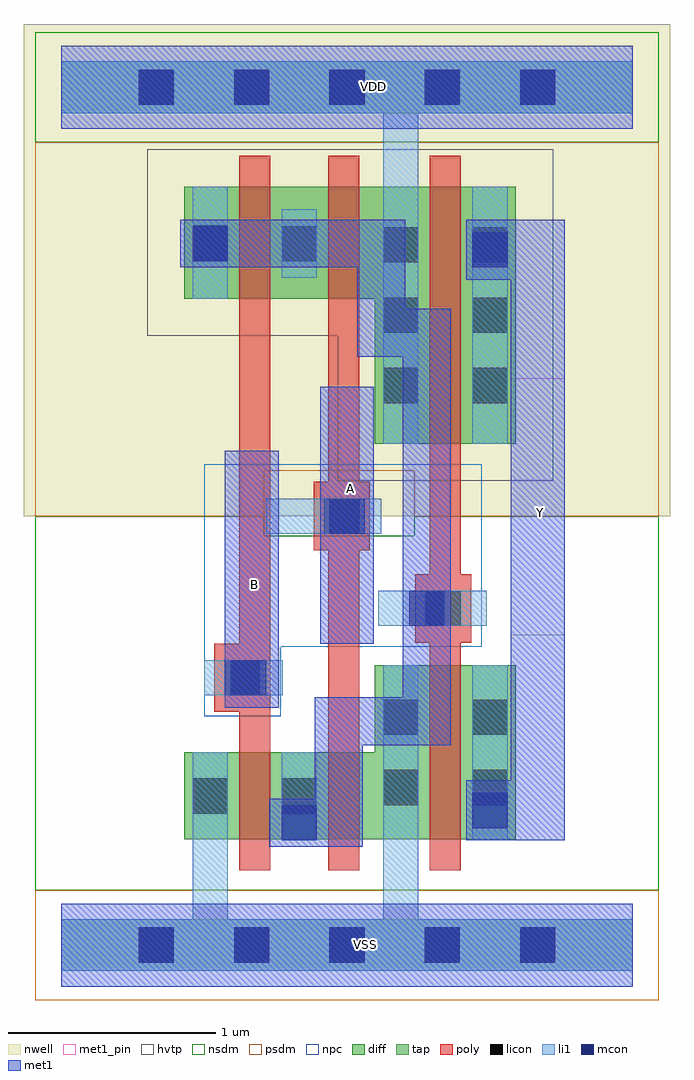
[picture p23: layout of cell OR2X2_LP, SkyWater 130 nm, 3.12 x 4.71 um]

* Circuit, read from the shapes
.subckt OR2X2_LP A B VDD VSS Y
XM1 n1 B VSS VSS sky130_fd_pr__nfet_01v8 w=0.42 l=0.15
XM2 VSS A n1 VSS sky130_fd_pr__nfet_01v8 w=0.42 l=0.15
XM3 Y n1 VSS VSS sky130_fd_pr__nfet_01v8 w=0.84 l=0.15
XM4 n2 B n1 VDD sky130_fd_pr__pfet_01v8_hvt w=0.54 l=0.15
XM5 VDD A n2 VDD sky130_fd_pr__pfet_01v8_hvt w=0.54 l=0.15
XM6 Y n1 VDD VDD sky130_fd_pr__pfet_01v8_hvt w=1.24 l=0.15
.ends

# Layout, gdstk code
from math import pi, radians
import gdstk
lib = gdstk.Library(unit=1e-6, precision=1e-09)
def R(c, l, rs):  # rectangles x0, y0, x1, y1
    for r in rs: c.add(gdstk.rectangle(r[:2], r[2:], *l))
def A(c, l, x, y, w, h, nx, ny, dx, dy):  # array of equal rectangles
    R(c, l, [(x+i*dx, y+j*dy, x+i*dx+w, y+j*dy+h) for i in range(nx) for j in range(ny)])
def P(c, l, *ps):  # polygons
    for p in ps: c.add(gdstk.Polygon(p, *l))
nwell = (64, 20)
diff = (65, 20)
tap = (65, 44)
poly = (66, 20)
licon = (66, 44)
li1 = (67, 20)
mcon = (67, 44)
met1_pin = (68, 16)
met1 = (68, 20)
hvtp = (78, 44)
nsdm = (93, 44)
psdm = (94, 20)
npc = (95, 20)

l1m1_c_cdns_758729379650 = lib.new_cell('L1M1_C_CDNS_758729379650')
R(l1m1_c_cdns_758729379650, li1, [(-0.085,-0.085,0.085,0.165)])
R(l1m1_c_cdns_758729379650, mcon, [(-0.085,-0.085,0.085,0.085)])
R(l1m1_c_cdns_758729379650, met1, [(-0.145,-0.115,0.145,0.115)])

lilicon_c_cdns_758729379 = lib.new_cell('LILICON_C_CDNS_7587293796522')
R(lilicon_c_cdns_758729379, licon, [(-0.085,-0.085,0.085,0.085), (-0.085,-0.085,0.085,0.085)])
R(lilicon_c_cdns_758729379, li1, [(-0.085,-0.165,0.085,0.165)])

l1m1_c_cdns_758729379655 = lib.new_cell('L1M1_C_CDNS_758729379655')
R(l1m1_c_cdns_758729379655, li1, [(-0.085,-0.165,0.085,0.165)])
R(l1m1_c_cdns_758729379655, mcon, [(-0.085,-0.085,0.085,0.085)])
R(l1m1_c_cdns_758729379655, met1, [(-0.115,-0.145,0.115,0.145)])

l1m1_c_cdns_758729379652 = lib.new_cell('L1M1_C_CDNS_758729379652')
R(l1m1_c_cdns_758729379652, li1, [(-0.085,-0.165,0.085,0.165)])
R(l1m1_c_cdns_758729379652, mcon, [(-0.085,-0.085,0.085,0.085)])
R(l1m1_c_cdns_758729379652, met1, [(-0.145,-0.115,0.145,0.115)])

pyl1con_c_cdns_758729379 = lib.new_cell('PYL1CON_C_CDNS_758729379653')
R(pyl1con_c_cdns_758729379, poly, [(-0.135,-0.165,0.135,0.165)])
R(pyl1con_c_cdns_758729379, licon, [(-0.085,-0.085,0.085,0.085)])
R(pyl1con_c_cdns_758729379, npc, [(-0.185,-0.185,0.185,0.185)])

l1m1_c_cdns_758729379654 = lib.new_cell('L1M1_C_CDNS_758729379654')
R(l1m1_c_cdns_758729379654, li1, [(-0.165,-0.085,0.165,0.085)])
R(l1m1_c_cdns_758729379654, mcon, [(-0.085,-0.085,0.085,0.085)])
R(l1m1_c_cdns_758729379654, met1, [(-0.115,-0.145,0.115,0.145)])

l1m1_c_cdns_758729379651 = lib.new_cell('L1M1_C_CDNS_7587293796513')
R(l1m1_c_cdns_758729379651, li1, [(-0.085,-0.085,0.085,0.165)])
R(l1m1_c_cdns_758729379651, mcon, [(-0.085,-0.085,0.085,0.085)])
R(l1m1_c_cdns_758729379651, met1, [(-0.115,-0.145,0.115,0.145)])

or2x2_lp = lib.new_cell('OR2X2_LP')
R(or2x2_lp, nwell, [(-0.18,2.07,2.94,4.445)])
P(or2x2_lp, diff, [(2.195,3.66),(0.595,3.66),(0.595,3.12),(1.515,3.12),(1.515,2.42),(2.195,2.42)],
  [(2.195,1.35),(1.515,1.35),(1.515,0.93),(0.595,0.93),(0.595,0.51),(2.195,0.51)])
R(or2x2_lp, poly, [(0.86,0.36,1.01,3.81), (1.29,0.36,1.44,3.81), (1.78,0.36,1.93,3.81)])
A(or2x2_lp, licon, 0.375, -0.085, 0.17, 0.17, 5, 2, 0.46, 4.14)
A(or2x2_lp, licon, 1.555, 2.615, 0.17, 0.17, 1, 3, 0, 0.34)
A(or2x2_lp, licon, 1.985, 2.615, 0.17, 0.17, 1, 3, 0, 0.34)
R(or2x2_lp, licon, [(0.635,0.635,0.805,0.805), (1.065,0.635,1.235,0.805), (1.555,0.675,1.725,0.845), (1.985,0.675,2.155,0.845), (1.555,1.015,1.725,1.185), (1.985,1.015,2.155,1.185), (0.635,3.305,0.805,3.475)])
R(or2x2_lp, li1, [(1.065,0.51,1.235,0.93), (1.985,0.51,2.155,1.35), (1.985,2.42,2.155,3.66), (0.635,3.12,0.805,3.66)])
P(or2x2_lp, li1, [(2.76,4.265),(0,4.265),(0,4.015),(1.555,4.015),(1.555,2.42),(1.725,2.42),(1.725,4.015),(2.76,4.015)],
  [(2.76,0.125),(1.725,0.125),(1.725,1.35),(1.555,1.35),(1.555,0.125),(0.805,0.125),(0.805,0.93),(0.635,0.93),(0.635,0.125),(0,0.125),(0,-0.125),(2.76,-0.125)])
A(or2x2_lp, mcon, 0.375, -0.085, 0.17, 0.17, 5, 2, 0.46, 4.14)
R(or2x2_lp, met1_pin, [(0.79,1.145,1.05,2.385), (1.25,1.455,1.51,2.695), (2.17,1.495,2.43,2.735)])
P(or2x2_lp, hvtp, [(2.375,3.84),(0.415,3.84),(0.415,2.94),(1.335,2.94),(1.335,2.24),(2.375,2.24)])
R(or2x2_lp, nsdm, [(-0.125,3.875,2.885,4.405)])
P(or2x2_lp, nsdm, [(2.885,2.07),(1.705,2.07),(1.705,1.975),(0.98,1.975),(0.98,2.07),(-0.125,2.07),(-0.125,0.265),(2.885,0.265)])
R(or2x2_lp, psdm, [(-0.125,-0.265,2.885,0.265)])
P(or2x2_lp, psdm, [(2.885,3.875),(-0.125,3.875),(-0.125,2.07),(0.98,2.07),(0.98,2.29),(1.705,2.29),(1.705,2.07),(2.885,2.07)])
P(or2x2_lp, npc, [(2.03,2.32),(0.69,2.32),(0.69,1.105),(0.91,1.105),(0.91,1.44),(2.03,1.44)])
or2x2_lp.add(gdstk.FlexPath([(0.905,1.29),(0.69,1.29)], 0.17, ends="flush", simple_path=True, layer=67, datatype=20))  # li1
or2x2_lp.add(gdstk.FlexPath([(1.52,2.07),(0.99,2.07)], 0.17, ends="flush", simple_path=True, layer=67, datatype=20))  # li1
or2x2_lp.add(gdstk.FlexPath([(2.055,1.625),(1.53,1.625)], 0.17, ends="flush", simple_path=True, layer=67, datatype=20))  # li1
or2x2_lp.add(gdstk.FlexPath([(0,4.14),(2.76,4.14)], 0.25, ends="flush", simple_path=True, layer=65, datatype=44))  # tap
or2x2_lp.add(gdstk.FlexPath([(0,0),(2.76,0)], 0.25, ends="flush", simple_path=True, layer=65, datatype=44))  # tap
or2x2_lp.add(gdstk.FlexPath([(0,4.14),(2.76,4.14)], 0.4, ends="flush", simple_path=True, layer=68, datatype=20))  # met1
or2x2_lp.add(gdstk.FlexPath([(0,0),(2.76,0)], 0.4, ends="flush", simple_path=True, layer=68, datatype=20))  # met1
or2x2_lp.add(gdstk.FlexPath([(1.34,0.475),(1.34,1.08),(1.765,1.08),(1.765,2.955),(1.545,2.955),(1.545,3.385),(0.735,3.385)], 0.23, ends="flush", simple_path=True, layer=68, datatype=20))  # met1
or2x2_lp.add(gdstk.FlexPath([(1.38,1.455),(1.38,2.695)], 0.26, ends="flush", simple_path=True, layer=68, datatype=20))  # met1
or2x2_lp.add(gdstk.FlexPath([(0.92,1.145),(0.92,2.385)], 0.26, ends="flush", simple_path=True, layer=68, datatype=20))  # met1
or2x2_lp.add(gdstk.FlexPath([(2.3,0.505),(2.3,3.5)], 0.26, ends="flush", simple_path=True, layer=68, datatype=20))  # met1
or2x2_lp.add(gdstk.FlexPath([(0,0),(2.76,0)], 0.4, ends="flush", simple_path=True, layer=68, datatype=16))  # met1_pin
or2x2_lp.add(gdstk.FlexPath([(0,4.14),(2.76,4.14)], 0.4, ends="flush", simple_path=True, layer=68, datatype=16))  # met1_pin
or2x2_lp.add(gdstk.Reference(l1m1_c_cdns_758729379650, (1.15,0.59)))
or2x2_lp.add(gdstk.Reference(lilicon_c_cdns_758729379, (1.15,3.385)))
or2x2_lp.add(gdstk.Reference(l1m1_c_cdns_758729379655, (2.07,3.355)))
or2x2_lp.add(gdstk.Reference(l1m1_c_cdns_758729379652, (0.905,1.29), rotation=pi/2))
or2x2_lp.add(gdstk.Reference(l1m1_c_cdns_758729379652, (0.72,3.385)))
or2x2_lp.add(gdstk.Reference(pyl1con_c_cdns_758729379, (1.355,2.07)))
or2x2_lp.add(gdstk.Reference(pyl1con_c_cdns_758729379, (1.845,1.625)))
or2x2_lp.add(gdstk.Reference(pyl1con_c_cdns_758729379, (0.875,1.29)))
or2x2_lp.add(gdstk.Reference(l1m1_c_cdns_758729379654, (1.765,1.625)))
or2x2_lp.add(gdstk.Reference(l1m1_c_cdns_758729379654, (1.38,2.07), x_reflection=True))
or2x2_lp.add(gdstk.Reference(l1m1_c_cdns_758729379651, (2.07,0.65)))
or2x2_lp.add(gdstk.Label('VDD', (1.51,4.145), layer=68, texttype=5))
or2x2_lp.add(gdstk.Label('A', (1.395,2.205), layer=68, texttype=5))
or2x2_lp.add(gdstk.Label('B', (0.935,1.74), layer=68, texttype=5))
or2x2_lp.add(gdstk.Label('VSS', (1.47,0.005), layer=68, texttype=5))
or2x2_lp.add(gdstk.Label('Y', (2.315,2.09), layer=68, texttype=5))

lib.write_gds('OR2X2_LP.gds')
